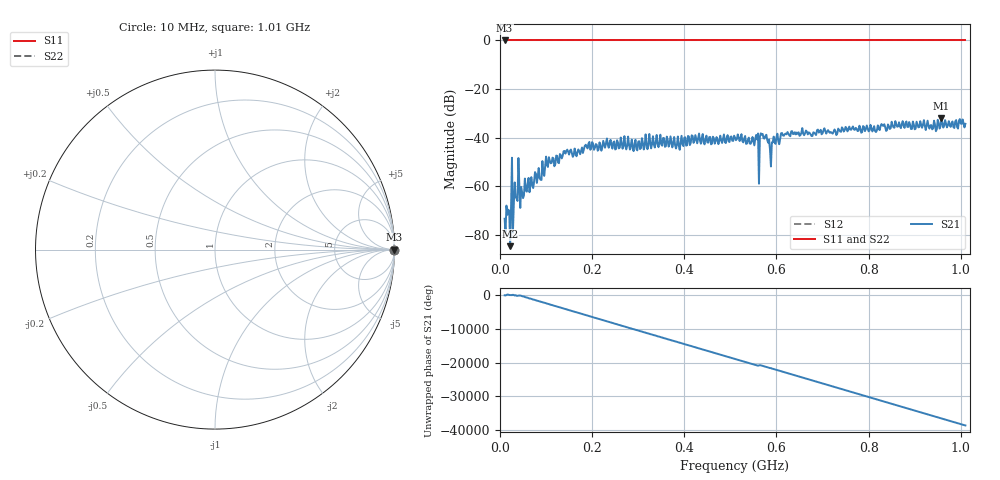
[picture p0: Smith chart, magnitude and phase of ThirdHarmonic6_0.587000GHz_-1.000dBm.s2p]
! 8/15/2025 7:02:01 PM
! C:\ANRITSUVNA\TEMP\TEMP.S2P
! CHANNEL.1
! TR.MEASUREMENT
! RAW.DATA
! RF.CORRECTION.OFF
! AVERAGING.OFF
! IF.BANDWIDTH: 5KHZ
! SWEEPTYPE:  FREQ.SWEEP(Linear)
! Reference Plane Port Info
! PORT:  PORT1  PORT2
! DISTANCE:  0  m  0  m
! TIME:  0  s  0  s
! PHASE.OFFSET:  0  deg.  0  deg.
! LOSS:  0  dB  0  dB
! REF.LOSS:  0  dB  0  dB
! REF.FREQ:  0  Hz  0  Hz
! Power Info
! POWER:  -20  dBm  -20  dBm
! EFF.POWER:  -20  dBm  -20  dBm
! SOURCE.ATTEN:  0  dB  0  dB
! TEST.ATTEN:  0  dB  0  dB
# GHZ S RI R 50.0
! FREQ.GHZ  S11RE  S11IM  S21RE  S21IM  S12RE  S12IM  S22RE  S22IM
!; PortSelection: Port_12
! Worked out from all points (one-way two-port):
!   501 points, 10 MHz to 1.01 GHz, reference 50 ohm
!   highest |S21| = -32.05 dB at 958 MHz (marker M1); lowest = -84.6 dB at 22 MHz (marker M2)
!   lowest |S11| = 0.0 dB at 10 MHz (marker M3)
!   |S11| at or under -10 dB: nowhere
!   |S22| runs from 0.0 to 0.0 dB; largest |S21 - S12| = 1
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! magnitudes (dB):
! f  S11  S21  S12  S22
! 10 MHz  0.0  -73.3  0.0  0.0
! 20 MHz  0.0  -70.1  0.0  0.0
! 22 MHz  0.0  -84.6  0.0  0.0
! 26 MHz  0.0  -48.2  0.0  0.0
! 30 MHz  0.0  -67.2  0.0  0.0
! 32 MHz  0.0  -58.4  0.0  0.0
! 36 MHz  0.0  -65.1  0.0  0.0
! 44 MHz  0.0  -68.9  0.0  0.0
! 48 MHz  0.0  -62.4  0.0  0.0
! 104 MHz  0.0  -52.0  0.0  0.0
! 178 MHz  0.0  -44.0  0.0  0.0
! 344 MHz  0.0  -43.9  0.0  0.0
! 510 MHz  0.0  -39.9  0.0  0.0
! 556 MHz  0.0  -38.9  0.0  0.0
! 558 MHz  0.0  -40.7  0.0  0.0
! 568 MHz  0.0  -38.7  0.0  0.0
! 586 MHz  0.0  -45.0  0.0  0.0
! 614 MHz  0.0  -39.0  0.0  0.0
! 678 MHz  0.0  -39.3  0.0  0.0
! 844 MHz  0.0  -35.3  0.0  0.0
! 958 MHz  0.0  -32.0  0.0  0.0
! 1.01 GHz  0.0  -34.3  0.0  0.0
